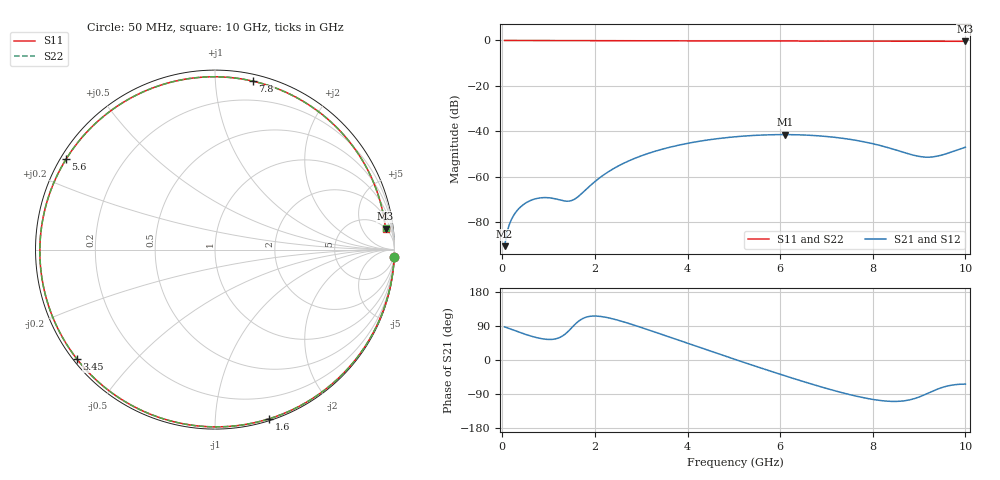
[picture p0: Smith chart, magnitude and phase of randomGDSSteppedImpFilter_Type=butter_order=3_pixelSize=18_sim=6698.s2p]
! freq	dB(S11)	phase(S11)	dB(S12)	phase(S12)
!  dB(S21)	phase(S21)	dB(S22)	phase(S22)
!S-par simulation data
#  GHz  S  DB  R 50
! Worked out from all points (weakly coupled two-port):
!   200 points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, 50 MHz to 10 GHz, reference 50 ohm
!   highest |S21| = -41.43 dB at 6.1 GHz (marker M1); lowest = -90.5 dB at 50 MHz (marker M2)
!   lowest |S11| = -0.4 dB at 10 GHz (marker M3), VSWR 45.80, Z = 257 + j721 ohm
!   |S11| at or under -10 dB: nowhere
!   |S22| runs from -0.4 to 0.0 dB; largest |S21 - S12| = 0
!   S11 on the Smith chart (normalised r, x): 50 MHz: 1, -48; 1.6 GHz: 0.01, -1.37; 3.45 GHz: 0.01, -0.35; 5.6 GHz: 0.02, +0.28; 7.8 GHz: 0.05, +1.25; 10 GHz: 5, +14
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0.05  -0.01 -2.4  -90.53 87.4  -90.53 87.4  -0.01 -2.4
0.15  -0.01 -7.1  -81.09 82.9  -81.09 82.9  -0.01 -7.1
0.4  -0.02 -18.8  -73.16 71.8  -73.16 71.8  -0.02 -18.8
0.65  -0.04 -30.3  -70.11 62.0  -70.11 62.0  -0.04 -30.3
0.95  -0.06 -43.9  -69.16 54.6  -69.16 54.6  -0.06 -43.9
1.4  -0.08 -63.7  -70.75 72.9  -70.75 72.9  -0.08 -63.7
1.6  -0.09 -72.2  -69.33 97.5  -69.33 97.5  -0.09 -72.1
1.75  -0.10 -78.4  -66.70 110.1  -66.70 110.1  -0.10 -78.4
2.1  -0.11 -92.4  -60.49 115.2  -60.49 115.2  -0.11 -92.4
2.45  -0.12 -105.9  -55.85 106.6  -55.85 106.6  -0.12 -105.9
3.4  -0.16 -140.0  -48.16 69.3  -48.16 69.3  -0.16 -139.9
3.45  -0.16 -141.7  -47.88 67.2  -47.88 67.2  -0.16 -141.6
4.25  -0.20 -168.2  -44.38 33.6  -44.38 33.6  -0.20 -168.1
5.05  -0.23 166.2  -42.35 0.5  -42.35 0.5  -0.23 166.3
5.6  -0.26 148.8  -41.63 -21.8  -41.63 -21.8  -0.26 148.8
6.1  -0.28 132.8  -41.43 -41.5  -41.43 -41.5  -0.28 132.8
6.7  -0.31 113.4  -41.80 -64.3  -41.80 -64.3  -0.31 113.4
7.25  -0.32 95.4  -42.80 -83.5  -42.80 -83.5  -0.32 95.5
7.8  -0.34 77.3  -44.57 -99.5  -44.57 -99.5  -0.34 77.3
8.35  -0.34 59.2  -47.29 -109.0  -47.29 -109.0  -0.34 59.2
9.2  -0.35 31.7  -51.38 -87.2  -51.38 -87.2  -0.35 31.7
10  -0.38 7.0  -46.99 -63.6  -46.99 -63.6  -0.38 7.1
